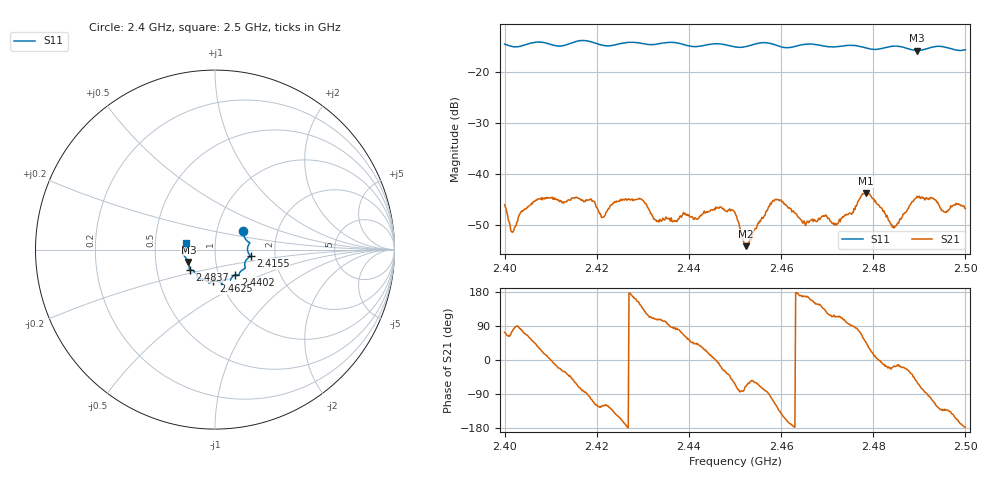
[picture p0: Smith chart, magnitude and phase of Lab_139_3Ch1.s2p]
# Hz S RI R 50
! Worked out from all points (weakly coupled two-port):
!   601 points, 2.4 GHz to 2.5 GHz, reference 50 ohm
!   highest |S21| = -43.79 dB at 2.4783 GHz (marker M1); lowest = -54.2 dB at 2.4523 GHz (marker M2)
!   lowest |S11| = -15.7 dB at 2.4895 GHz (marker M3), VSWR 1.39, Z = 36.8 - j5.17 ohm
!   |S11| at or under -10 dB: start of sweep to end of sweep
!   S12 and S22 are empty: the file has one direction only
!   S11 on the Smith chart (normalised r, x): 2.4 GHz: 1.34, +0.29; 2.4155 GHz: 1.49, -0.11; 2.4402 GHz: 1.20, -0.35; 2.4625 GHz: 0.92, -0.34; 2.4837 GHz: 0.74, -0.17; 2.5 GHz: 0.72, +0.05
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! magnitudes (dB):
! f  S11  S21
! 2.4 GHz  -14.5  -46.0
! 2.4018 GHz  -15.0  -51.4
! 2.4068 GHz  -14.1  -45.1
! 2.4155 GHz  -13.9  -44.5
! 2.4167 GHz  -13.8  -45.2
! 2.4213 GHz  -14.7  -48.5
! 2.424 GHz  -14.6  -45.4
! 2.4295 GHz  -14.3  -44.9
! 2.4333 GHz  -14.4  -49.2
! 2.4402 GHz  -14.8  -48.4
! 2.45 GHz  -15.0  -47.6
! 2.4523 GHz  -15.0  -54.2
! 2.4585 GHz  -14.5  -45.3
! 2.4625 GHz  -15.0  -47.3
! 2.4667 GHz  -14.4  -48.9
! 2.472 GHz  -15.0  -49.8
! 2.4783 GHz  -15.2  -43.8
! 2.4833 GHz  -15.0  -49.2
! 2.4837 GHz  -14.9  -49.6
! 2.485 GHz  -14.9  -50.1
! 2.4895 GHz  -15.7  -44.4
! 2.5 GHz  -15.6  -46.8
